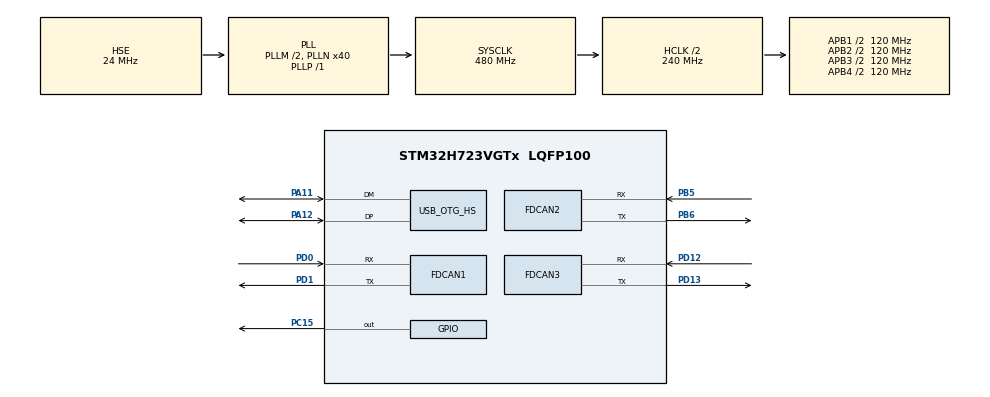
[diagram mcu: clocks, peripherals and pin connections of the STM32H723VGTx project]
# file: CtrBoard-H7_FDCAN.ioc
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CORTEX_M7.CPU_DCache=Enabled
CORTEX_M7.CPU_ICache=Enabled
FDCAN1.AutoRetransmission=DISABLE
FDCAN1.CalculateBaudRateNominal=1000000
FDCAN1.CalculateTimeBitNominal=1000
FDCAN1.CalculateTimeQuantumNominal=200.0
FDCAN1.Mode=FDCAN_MODE_NORMAL
FDCAN1.NominalPrescaler=24
FDCAN1.NominalTimeSeg1=2
FDCAN1.ProtocolException=DISABLE
FDCAN1.RxFifo0ElmtsNbr=32
FDCAN1.StdFiltersNbr=1
FDCAN1.TransmitPause=DISABLE
FDCAN1.TxFifoQueueElmtsNbr=32
FDCAN2.CalculateBaudRateNominal=1000000
FDCAN2.CalculateTimeBitNominal=1000
FDCAN2.CalculateTimeQuantumNominal=200.0
FDCAN2.MessageRAMOffset=0x406
FDCAN2.Mode=FDCAN_MODE_NORMAL
FDCAN2.NominalPrescaler=24
FDCAN2.RxFifo0ElmtsNbr=32
FDCAN2.StdFiltersNbr=1
FDCAN2.TxFifoQueueElmtsNbr=32
FDCAN3.CalculateBaudRateNominal=1000000
FDCAN3.CalculateTimeBitNominal=1000
FDCAN3.CalculateTimeQuantumNominal=200.0
FDCAN3.MessageRAMOffset=0x812
FDCAN3.Mode=FDCAN_MODE_NORMAL
FDCAN3.NominalPrescaler=24
FDCAN3.RxFifo0ElmtsNbr=32
FDCAN3.StdFiltersNbr=1
FDCAN3.TxFifoQueueElmtsNbr=32
Mcu.Family=STM32H7
Mcu.Name=STM32H723VGTx
Mcu.Package=LQFP100
NVIC.FDCAN1_IT0_IRQn=true\:0\:0\:false\:false\:true\:true\:true\:true
NVIC.FDCAN1_IT1_IRQn=true\:0\:0\:false\:false\:true\:true\:true\:true
NVIC.FDCAN2_IT0_IRQn=true\:0\:0\:false\:false\:true\:true\:true\:true
NVIC.FDCAN2_IT1_IRQn=true\:0\:0\:false\:false\:true\:true\:true\:true
NVIC.FDCAN3_IT0_IRQn=true\:0\:0\:false\:false\:true\:true\:true\:true
NVIC.FDCAN3_IT1_IRQn=true\:0\:0\:false\:false\:true\:true\:true\:true
NVIC.OTG_HS_IRQn=true\:0\:0\:false\:false\:true\:false\:true\:true
NVIC.PriorityGroup=NVIC_PRIORITYGROUP_4
NVIC.TIM1_UP_IRQn=true\:0\:0\:false\:false\:true\:true\:true\:true
PA11.Mode=Device_Only_FS
PA11.Signal=USB_OTG_HS_DM
PA12.Mode=Device_Only_FS
PA12.Signal=USB_OTG_HS_DP
PA13(JTMS/SWDIO).Mode=Serial_Wire
PA13(JTMS/SWDIO).Signal=DEBUG_JTMS-SWDIO
PA14(JTCK/SWCLK).Mode=Serial_Wire
PA14(JTCK/SWCLK).Signal=DEBUG_JTCK-SWCLK
PB5.Mode=FDCAN_Activate
PB5.Signal=FDCAN2_RX
PB6.Mode=FDCAN_Activate
PB6.Signal=FDCAN2_TX
PC15-OSC32_OUT.Signal=GPIO_Output
PD0.Mode=FDCAN_Activate
PD0.Signal=FDCAN1_RX
PD1.Mode=FDCAN_Activate
PD1.Signal=FDCAN1_TX
PD12.Mode=FDCAN_Activate
PD12.Signal=FDCAN3_RX
PD13.Mode=FDCAN_Activate
PD13.Signal=FDCAN3_TX
PH0-OSC_IN.Mode=HSE-External-Oscillator
PH0-OSC_IN.Signal=RCC_OSC_IN
PH1-OSC_OUT.Mode=HSE-External-Oscillator
PH1-OSC_OUT.Signal=RCC_OSC_OUT
ProjectManager.HeapSize=0x200
ProjectManager.StackSize=0x400
ProjectManager.TargetToolchain=MDK-ARM V5.32
RCC.ADCFreq_Value=48375000
RCC.APB1Freq_Value=120000000
RCC.APB2Freq_Value=120000000
RCC.APB3Freq_Value=120000000
RCC.APB4Freq_Value=120000000
RCC.CortexFreq_Value=480000000
RCC.D1PPRE=RCC_APB3_DIV2
RCC.D2PPRE1=RCC_APB1_DIV2
RCC.D2PPRE2=RCC_APB2_DIV2
RCC.D3PPRE=RCC_APB4_DIV2
RCC.DIVM1=2
RCC.DIVN1=40
RCC.DIVP1=1
RCC.DIVQ1=4
RCC.HCLKFreq_Value=240000000
RCC.HPRE=RCC_HCLK_DIV2
RCC.HSE_VALUE=24000000
RCC.PLLFRACN=0
RCC.PLLSourceVirtual=RCC_PLLSOURCE_HSE
RCC.SYSCLKFreq_VALUE=480000000
RCC.SYSCLKSource=RCC_SYSCLKSOURCE_PLLCLK
RCC.USBFreq_Value=120000000
TIM1.AutoReloadPreload=TIM_AUTORELOAD_PRELOAD_ENABLE
TIM1.Period=1000
TIM1.Prescaler=239
USB_DEVICE.CLASS_NAME_HS=CDC
USB_DEVICE.VirtualMode=Cdc
USB_DEVICE.VirtualModeHS=Cdc_HS
USB_OTG_HS.VirtualMode-Device_Only_FS=Device_Only_FS
VP_TIM1_VS_ClockSourceINT.Mode=Internal
VP_USB_DEVICE_VS_USB_DEVICE_CDC_HS.Mode=CDC_HS
board=custom

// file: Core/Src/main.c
/* USER CODE BEGIN Header */
/**
  ******************************************************************************
  * @file           : main.c
  * @brief          : Main program body
  ******************************************************************************
  * @attention
  *
  * Copyright (c) 2024 STMicroelectronics.
  * All rights reserved.
  *
  * This software is licensed under terms that can be found in the LICENSE file
  * in the root directory of this software component.
  * If no LICENSE file comes with this software, it is provided AS-IS.
  *
  ******************************************************************************
  */
/* USER CODE END Header */
#include "main.h"
#include "fdcan.h"
#include "tim.h"
#include "usb_device.h"
#include "gpio.h"

/* USER CODE BEGIN Includes */
#include "can_bsp.h"
#include "dm_imu.h"
#include <stdio.h>  // ? 添加支持 printf
/* USER CODE END Includes */

/* USER CODE BEGIN PV */
uint8_t freq_1k = 0;
static uint32_t tick_ms = 0;
/* USER CODE END PV */

void SystemClock_Config(void);

/* USER CODE BEGIN 0 */
extern void GPIO_5V_PowerOn();
extern void GPIO_5V_PowerOff();
/* USER CODE END 0 */

int main(void)
{
  /* Enable the CPU Cache */
  SCB_EnableICache();
  SCB_EnableDCache();

  /* MCU Configuration--------------------------------------------------------*/
  HAL_Init();
  SystemClock_Config();

  /* Initialize all configured peripherals */
  MX_GPIO_Init();
  MX_FDCAN1_Init();
  MX_FDCAN2_Init();
  MX_FDCAN3_Init();
  MX_TIM1_Init();
  MX_USB_DEVICE_Init();  // ? 初始化 USB CDC

  /* USER CODE BEGIN 2 */
  can_bsp_init();
  HAL_TIM_Base_Start_IT(&htim1);
  GPIO_5V_PowerOn();
  imu_init(0x01, 0x11, &hfdcan3);

  printf("?? USB CDC Initialized!\r\n");  // ? 输出测试
  /* USER CODE END 2 */

  /* Infinite loop */
  while (1)
  {
    /* USER CODE BEGIN WHILE */
    if (freq_1k)
    {
      tick_ms++;

      if (tick_ms % 3 == 0)
      {
        imu_request_accel();
      }
      else if (tick_ms % 2 == 0)
      {
        imu_request_gyro();
      }
      else
      {
        imu_request_quat();
      }

      if (tick_ms > 1000)
        tick_ms = 0;

      freq_1k = 0;
    }
    /* USER CODE END WHILE */
  }
}

void SystemClock_Config(void)
{
  RCC_OscInitTypeDef RCC_OscInitStruct = {0};
  RCC_ClkInitTypeDef RCC_ClkInitStruct = {0};

  HAL_PWREx_ConfigSupply(PWR_LDO_SUPPLY);
  __HAL_PWR_VOLTAGESCALING_CONFIG(PWR_REGULATOR_VOLTAGE_SCALE0);
  while (!__HAL_PWR_GET_FLAG(PWR_FLAG_VOSRDY)) {}

  RCC_OscInitStruct.OscillatorType = RCC_OSCILLATORTYPE_HSE;
  RCC_OscInitStruct.HSEState = RCC_HSE_ON;
  RCC_OscInitStruct.PLL.PLLState = RCC_PLL_ON;
  RCC_OscInitStruct.PLL.PLLSource = RCC_PLLSOURCE_HSE;
  RCC_OscInitStruct.PLL.PLLM = 2;
  RCC_OscInitStruct.PLL.PLLN = 40;
  RCC_OscInitStruct.PLL.PLLP = 1;
  RCC_OscInitStruct.PLL.PLLQ = 4;
  RCC_OscInitStruct.PLL.PLLR = 2;
  RCC_OscInitStruct.PLL.PLLRGE = RCC_PLL1VCIRANGE_3;
  RCC_OscInitStruct.PLL.PLLVCOSEL = RCC_PLL1VCOWIDE;
  RCC_OscInitStruct.PLL.PLLFRACN = 0;
  if (HAL_RCC_OscConfig(&RCC_OscInitStruct) != HAL_OK)
  {
    Error_Handler();
  }

  RCC_ClkInitStruct.ClockType = RCC_CLOCKTYPE_HCLK | RCC_CLOCKTYPE_SYSCLK |
                                RCC_CLOCKTYPE_PCLK1 | RCC_CLOCKTYPE_PCLK2 |
                                RCC_CLOCKTYPE_D3PCLK1 | RCC_CLOCKTYPE_D1PCLK1;
  RCC_ClkInitStruct.SYSCLKSource = RCC_SYSCLKSOURCE_PLLCLK;
  RCC_ClkInitStruct.SYSCLKDivider = RCC_SYSCLK_DIV1;
  RCC_ClkInitStruct.AHBCLKDivider = RCC_HCLK_DIV2;
  RCC_ClkInitStruct.APB3CLKDivider = RCC_APB3_DIV2;
  RCC_ClkInitStruct.APB1CLKDivider = RCC_APB1_DIV2;
  RCC_ClkInitStruct.APB2CLKDivider = RCC_APB2_DIV2;
  RCC_ClkInitStruct.APB4CLKDivider = RCC_APB4_DIV2;

  if (HAL_RCC_ClockConfig(&RCC_ClkInitStruct, FLASH_LATENCY_3) != HAL_OK)
  {
    Error_Handler();
  }
}

/* USER CODE BEGIN 4 */
void HAL_TIM_PeriodElapsedCallback(TIM_HandleTypeDef *htim)
{
  if (htim->Instance == TIM1)
  {
    freq_1k = 1;
  }
}
/* USER CODE END 4 */

void Error_Handler(void)
{
  __disable_irq();
  while (1)
  {
  }
}
